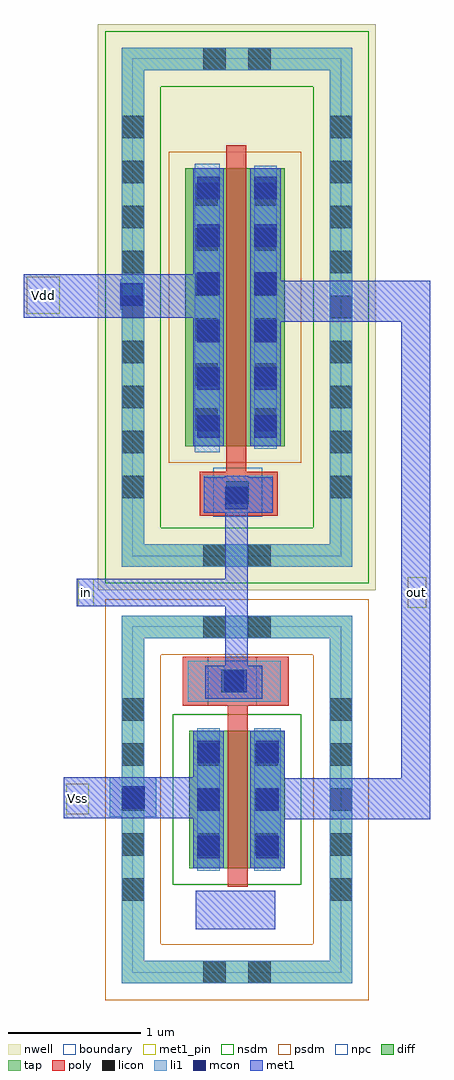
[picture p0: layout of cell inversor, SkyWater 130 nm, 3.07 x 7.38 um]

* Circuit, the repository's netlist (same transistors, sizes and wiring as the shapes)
** sch_path: /home/alejo/Documentos/DE_TP06/inversor.sch
.subckt inversor Vdd in out Vss
*.PININFO in:I Vdd:I Vss:I out:O
XM1 out in Vss Vss sky130_fd_pr__nfet_01v8 L=0.15 W=1.05 nf=1 m=1
XM2 out in Vdd Vdd sky130_fd_pr__pfet_01v8 L=0.15 W=2.1 nf=1 m=1
.ends

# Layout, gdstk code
import gdstk
lib = gdstk.Library(unit=1e-6, precision=1e-09)
def R(c, l, rs):  # rectangles x0, y0, x1, y1
    for r in rs: c.add(gdstk.rectangle(r[:2], r[2:], *l))
def A(c, l, x, y, w, h, nx, ny, dx, dy):  # array of equal rectangles
    R(c, l, [(x+i*dx, y+j*dy, x+i*dx+w, y+j*dy+h) for i in range(nx) for j in range(ny)])
nwell = (64, 20)
diff = (65, 20)
tap = (65, 44)
poly = (66, 20)
licon = (66, 44)
li1 = (67, 20)
mcon = (67, 44)
met1_pin = (68, 16)
met1 = (68, 20)
nsdm = (93, 44)
psdm = (94, 20)
npc = (95, 20)
boundary = (235, 4)

sky130_fd_pr__pfet_01v8_ = lib.new_cell('sky130_fd_pr__pfet_01v8_DRQ6M2')
R(sky130_fd_pr__pfet_01v8_, nwell, [(-1.05,-2.14,1.05,2.14)])
R(sky130_fd_pr__pfet_01v8_, diff, [(-0.39,-1.05,0.36,1.05)])
R(sky130_fd_pr__pfet_01v8_, tap, [(-0.87,-1.96,0.87,-1.79), (-0.87,-1.79,-0.7,1.79), (0.7,-1.79,0.87,1.79), (-0.87,1.79,0.87,1.96)])
R(sky130_fd_pr__pfet_01v8_, poly, [(-0.28,-1.575,0.31,-1.245), (-0.08,-1.245,0.07,1.225)])
A(sky130_fd_pr__pfet_01v8_, licon, -0.87, -1.445, 0.17, 0.17, 1, 9, 0, 0.34)
A(sky130_fd_pr__pfet_01v8_, licon, 0.7, -1.445, 0.17, 0.17, 1, 9, 0, 0.34)
A(sky130_fd_pr__pfet_01v8_, licon, -0.315, -0.935, 0.17, 0.17, 1, 6, 0, 0.34)
A(sky130_fd_pr__pfet_01v8_, licon, 0.13, -0.935, 0.17, 0.17, 1, 6, 0, 0.34)
R(sky130_fd_pr__pfet_01v8_, licon, [(-0.255,-1.96,-0.085,-1.79), (0.085,-1.96,0.255,-1.79), (-0.08,-1.485,0.09,-1.315), (-0.255,1.79,-0.085,1.96), (0.085,1.79,0.255,1.96)])
R(sky130_fd_pr__pfet_01v8_, li1, [(-0.87,-1.96,0.87,-1.79), (-0.87,-1.79,-0.7,1.79), (0.7,-1.79,0.87,1.79), (-0.25,-1.555,0.27,-1.275), (-0.32,-1.095,-0.13,1.085), (0.13,-1.07,0.3,1.07), (-0.87,1.79,0.87,1.96)])
A(sky130_fd_pr__pfet_01v8_, mcon, -0.3, -0.985, 0.17, 0.17, 1, 6, 0, 0.36)
A(sky130_fd_pr__pfet_01v8_, mcon, 0.13, -0.985, 0.17, 0.17, 1, 6, 0, 0.36)
R(sky130_fd_pr__pfet_01v8_, mcon, [(-0.09,-1.525,0.08,-1.355)])
R(sky130_fd_pr__pfet_01v8_, met1, [(-0.09,-1.575,0.08,-1.555), (-0.25,-1.555,0.27,-1.285), (-0.09,-1.285,0.08,-1.275), (-0.33,-1.05,-0.1,1.05), (0.1,-1.05,0.33,1.05)])
R(sky130_fd_pr__pfet_01v8_, nsdm, [(-0.995,-2.085,0.995,-1.665), (-0.995,-1.665,-0.575,1.665), (0.575,-1.665,0.995,1.665), (-0.995,1.665,0.995,2.085)])
R(sky130_fd_pr__pfet_01v8_, psdm, [(-0.515,-1.175,0.485,1.175)])
R(sky130_fd_pr__pfet_01v8_, npc, [(-0.18,-1.585,0.19,-1.215)])
R(sky130_fd_pr__pfet_01v8_, boundary, [(-0.79,-1.88,0.79,1.88)])

sky130_fd_pr__nfet_01v8_ = lib.new_cell('sky130_fd_pr__nfet_01v8_6S25M9')
R(sky130_fd_pr__nfet_01v8_, diff, [(-0.36,-0.52,0.36,0.52)])
R(sky130_fd_pr__nfet_01v8_, tap, [(-0.87,-1.39,0.87,-1.22), (-0.87,-1.22,-0.7,1.22), (0.7,-1.22,0.87,1.22), (-0.87,1.22,0.87,1.39)])
R(sky130_fd_pr__nfet_01v8_, poly, [(-0.07,-0.66,0.08,0.71), (-0.41,0.71,0.39,1.08)])
A(sky130_fd_pr__nfet_01v8_, licon, -0.87, -0.765, 0.17, 0.17, 1, 5, 0, 0.34)
A(sky130_fd_pr__nfet_01v8_, licon, 0.7, -0.765, 0.17, 0.17, 1, 5, 0, 0.34)
A(sky130_fd_pr__nfet_01v8_, licon, -0.3, -0.425, 0.17, 0.17, 1, 3, 0, 0.34)
A(sky130_fd_pr__nfet_01v8_, licon, 0.14, -0.425, 0.17, 0.17, 1, 3, 0, 0.34)
R(sky130_fd_pr__nfet_01v8_, licon, [(-0.255,-1.39,-0.085,-1.22), (0.085,-1.39,0.255,-1.22), (-0.12,0.81,0.05,0.98), (-0.255,1.22,-0.085,1.39), (0.085,1.22,0.255,1.39)])
R(sky130_fd_pr__nfet_01v8_, li1, [(-0.87,-1.39,0.87,-1.22), (-0.87,-1.22,-0.7,1.22), (0.7,-1.22,0.87,1.22), (-0.3,-0.54,-0.13,0.54), (0.13,-0.54,0.33,0.54), (-0.37,0.74,0.33,1.05), (-0.87,1.22,0.87,1.39)])
A(sky130_fd_pr__nfet_01v8_, mcon, -0.3, -0.445, 0.17, 0.17, 1, 3, 0, 0.36)
A(sky130_fd_pr__nfet_01v8_, mcon, 0.145, -0.445, 0.17, 0.17, 1, 3, 0, 0.36)
R(sky130_fd_pr__nfet_01v8_, mcon, [(-0.095,0.81,0.075,0.98)])
R(sky130_fd_pr__nfet_01v8_, met1, [(-0.33,-0.52,-0.1,0.52), (0.1,-0.52,0.36,-0.11), (0.1,-0.11,0.33,0.16), (0.1,0.16,0.36,0.52), (-0.24,0.76,0.19,1.01)])
R(sky130_fd_pr__nfet_01v8_, nsdm, [(-0.485,-0.645,0.485,0.645)])
R(sky130_fd_pr__nfet_01v8_, psdm, [(-0.995,-1.515,0.995,-1.095), (-0.995,-1.095,-0.575,1.095), (0.575,-1.095,0.995,1.095), (-0.995,1.095,0.995,1.515)])
R(sky130_fd_pr__nfet_01v8_, npc, [(-0.22,0.71,0.15,1.08)])
R(sky130_fd_pr__nfet_01v8_, boundary, [(-0.79,-1.31,0.79,1.31)])

inversor = lib.new_cell('inversor')
R(inversor, li1, [(5.65,0.5,6,0.8), (5.73,4.33,5.9,4.56)])
R(inversor, mcon, [(5.745,0.56,5.915,0.73), (5.73,4.36,5.9,4.53)])
R(inversor, met1_pin, [(5.32,0.52,5.49,0.75), (7.9,2.08,8.04,2.31), (5.41,2.09,5.53,2.3), (5.02,4.3,5.27,4.58)])
R(inversor, met1, [(6.3,-0.35,6.9,-0.06), (6.93,0.48,8.07,0.79), (5.3,0.49,6.32,0.8), (7.85,0.79,8.07,4.24), (6.52,1.5,6.69,2.09), (5.4,2.09,6.69,2.3), (6.52,2.3,6.69,2.89), (6.91,4.24,8.07,4.55), (5,4.27,6.34,4.6)])
inversor.add(gdstk.Reference(sky130_fd_pr__pfet_01v8_, (6.61,4.35)))
inversor.add(gdstk.Reference(sky130_fd_pr__nfet_01v8_, (6.61,0.63)))
inversor.add(gdstk.Label('Vdd', (5.145,4.44), layer=68, texttype=5))
inversor.add(gdstk.Label('in', (5.47,2.195), layer=68, texttype=5))
inversor.add(gdstk.Label('out', (7.97,2.195), layer=68, texttype=5))
inversor.add(gdstk.Label('Vss', (5.405,0.635), layer=68, texttype=5))

lib.write_gds('inversor.gds')
